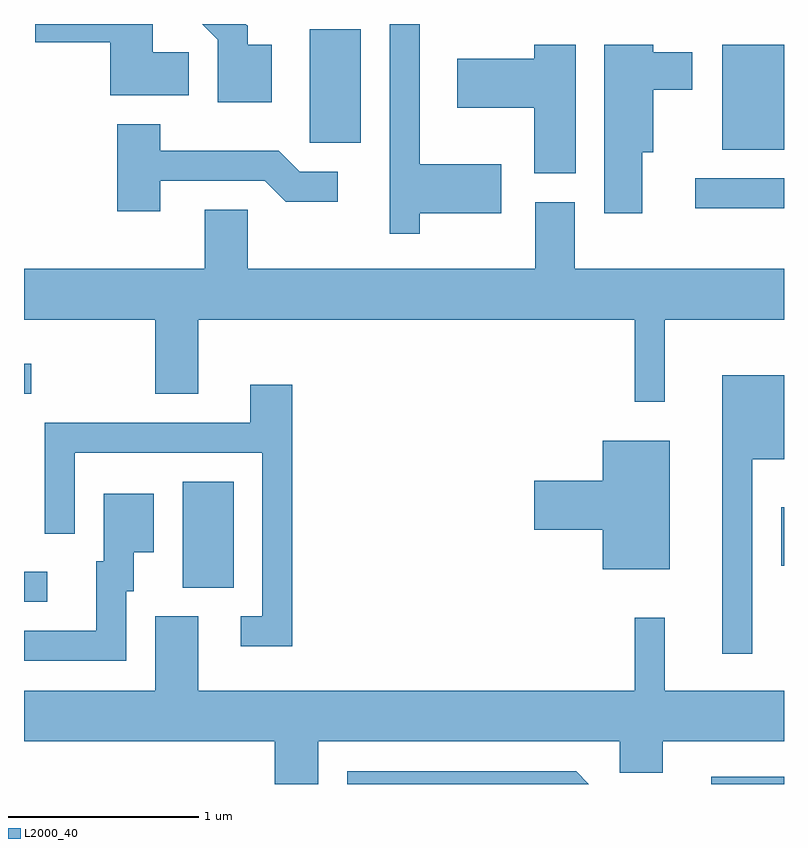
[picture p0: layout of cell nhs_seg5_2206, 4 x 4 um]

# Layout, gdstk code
import gdstk
lib = gdstk.Library(unit=1e-6, precision=1e-09)
def R(c, l, rs):  # rectangles x0, y0, x1, y1
    for r in rs: c.add(gdstk.rectangle(r[:2], r[2:], *l))
def P(c, l, *ps):  # polygons
    for p in ps: c.add(gdstk.Polygon(p, *l))
L2000_40 = (2000, 40)

nhs_seg5_2206 = lib.new_cell('nhs_seg5_2206')
R(nhs_seg5_2206, L2000_40, [(253.228,1512.072,253.611,1512.109), (249.611,1513.031,249.733,1513.189), (250.446,1513.106,250.714,1513.664), (253.596,1513.221,253.611,1513.529), (249.611,1514.126,249.648,1514.284), (253.143,1515.101,253.611,1515.259), (253.286,1515.411,253.611,1515.964), (251.116,1515.446,251.384,1516.044)])
P(nhs_seg5_2206, L2000_40, [(250.914,1515.964),(250.789,1515.964),(250.789,1516.062),(250.779,1516.072),(250.548,1516.072),(250.631,1515.989),(250.631,1515.661),(250.914,1515.661)],
  [(250.479,1515.924),(250.289,1515.924),(250.289,1516.072),(249.671,1516.072),(249.671,1515.976),(250.066,1515.976),(250.066,1515.696),(250.479,1515.696)],
  [(251.694,1515.076),(252.124,1515.076),(252.124,1515.334),(251.694,1515.334),(251.694,1516.072),(251.536,1516.072),(251.536,1514.968),(251.694,1514.968)],
  [(252.514,1515.964),(252.296,1515.964),(252.296,1515.889),(251.891,1515.889),(251.891,1515.631),(252.296,1515.631),(252.296,1515.286),(252.514,1515.286)],
  [(252.864,1515.396),(252.924,1515.396),(252.924,1515.726),(253.129,1515.726),(253.129,1515.924),(252.924,1515.924),(252.924,1515.964),(252.666,1515.964),(252.666,1515.076),(252.864,1515.076)],
  [(250.329,1515.246),(250.879,1515.246),(250.989,1515.136),(251.263,1515.136),(251.263,1515.294),(251.062,1515.294),(250.952,1515.404),(250.329,1515.404),(250.329,1515.544),(250.101,1515.544),(250.101,1515.086),(250.329,1515.086)],
  [(252.984,1514.516),(253.611,1514.516),(253.611,1514.784),(252.509,1514.784),(252.509,1515.134),(252.301,1515.134),(252.301,1514.784),(250.789,1514.784),(250.789,1515.094),(250.561,1515.094),(250.561,1514.784),(249.611,1514.784),(249.611,1514.516),(250.301,1514.516),(250.301,1514.126),(250.529,1514.126),(250.529,1514.516),(252.826,1514.516),(252.826,1514.083),(252.984,1514.083)],
  [(253.444,1513.781),(253.611,1513.781),(253.611,1514.224),(253.286,1514.224),(253.286,1512.758),(253.444,1512.758)],
  [(251.024,1514.174),(250.801,1514.174),(250.801,1513.974),(249.721,1513.974),(249.721,1513.388),(249.879,1513.388),(249.879,1513.816),(250.866,1513.816),(250.866,1512.954),(250.753,1512.954),(250.753,1512.796),(251.024,1512.796)],
  [(253.009,1513.879),(252.656,1513.879),(252.656,1513.669),(252.296,1513.669),(252.296,1513.411),(252.656,1513.411),(252.656,1513.201),(253.009,1513.201)],
  [(250.149,1513.086),(250.189,1513.086),(250.189,1513.291),(250.294,1513.291),(250.294,1513.599),(250.031,1513.599),(250.031,1513.244),(249.991,1513.244),(249.991,1512.879),(249.611,1512.879),(249.611,1512.721),(250.149,1512.721)],
  [(251.159,1512.296),(252.746,1512.296),(252.746,1512.131),(252.974,1512.131),(252.974,1512.296),(253.611,1512.296),(253.611,1512.564),(252.984,1512.564),(252.984,1512.948),(252.826,1512.948),(252.826,1512.564),(250.529,1512.564),(250.529,1512.954),(250.301,1512.954),(250.301,1512.564),(249.611,1512.564),(249.611,1512.296),(250.931,1512.296),(250.931,1512.072),(251.159,1512.072)],
  [(252.517,1512.139),(251.311,1512.139),(251.311,1512.072),(252.584,1512.072)])

lib.write_gds('nhs_seg5_2206.gds')
